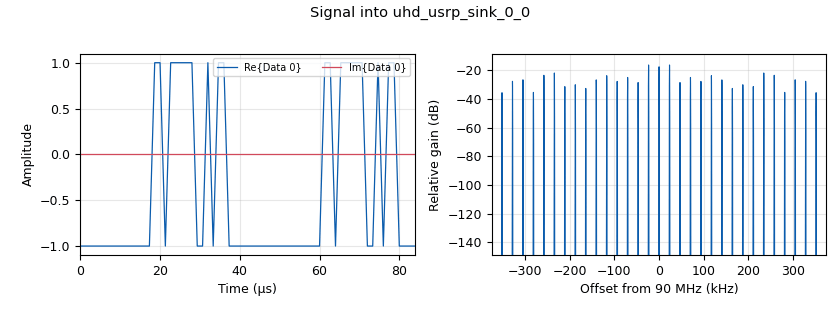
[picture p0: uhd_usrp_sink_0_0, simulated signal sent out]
options:
  parameters:
    category: Custom
    generate_options: qt_gui
    id: fecapi_cc_decoders
    output_language: python
  states: {}

blocks:
- name: dec_cc
  id: variable_cc_decoder_def
  parameters:
    framebits: frame_size*8
    k: k
    mode: fec.CC_STREAMING
    ndim: '0'
    padding: 'False'
    polys: polys
    rate: rate
    state_end: '-1'
    state_start: '0'
  states: {}
- name: delay
  id: variable_qtgui_range
  parameters:
    label: delay
    start: '1'
    step: '1'
    stop: '100'
    value: '25'
  states: {}
- name: enc_cc
  id: variable_cc_encoder_def
  parameters:
    framebits: frame_size*8
    k: k
    mode: fec.CC_STREAMING
    ndim: '0'
    padding: 'False'
    polys: polys
    rate: rate
    state_start: '0'
  states: {}
- name: freq_rds
  id: variable
  parameters:
    value: 90e6
  states: {}
- name: gainrx
  id: variable_qtgui_range
  parameters:
    label: GananciaRx
    start: '0'
    step: '1'
    stop: '100'
    value: '33'
  states: {}
- name: gaintx
  id: variable_qtgui_range
  parameters:
    label: GananciaTx
    start: '1'
    step: '1'
    stop: '100'
    value: '87'
  states: {}
- name: interpolation
  id: variable_qtgui_range
  parameters:
    label: Interpolación
    start: '1'
    step: '1'
    stop: '100'
    value: '15'
  states: {}
- name: k
  id: variable
  parameters:
    value: '7'
  states: {}
- name: polys
  id: variable
  parameters:
    value: '[79, 109]'
  states: {state: disabled}
- name: polys
  id: variable
  parameters:
    value: '[109, 79]'
  states: {}
- name: rate
  id: variable
  parameters:
    value: '2'
  states: {}
- name: samp_rate
  id: variable
  parameters:
    value: '50000'
  states: {}
- name: samp_rate_RDS
  id: variable
  parameters:
    value: samp_rate*interpolation
  states: {}
- name: blocks_char_to_float_0_1
  id: blocks_char_to_float
  parameters:
    scale: '1'
  states: {}
- name: blocks_char_to_float_1
  id: blocks_char_to_float
  parameters:
    scale: '1'
  states: {}
- name: blocks_char_to_float_1_0
  id: blocks_char_to_float
  parameters:
    scale: '1'
  states: {}
- name: blocks_complex_to_float_0
  id: blocks_complex_to_float
  parameters: {}
  states: {}
- name: blocks_delay_0
  id: blocks_delay
  parameters:
    delay: delay
    type: float
  states: {}
- name: blocks_float_to_complex_0
  id: blocks_float_to_complex
  parameters: {}
  states: {}
- name: blocks_throttle2_0
  id: blocks_throttle2
  parameters:
    samples_per_second: samp_rate
    type: byte
  states: {}
- name: blocks_unpack_k_bits_bb_0
  id: blocks_unpack_k_bits_bb
  parameters:
    k: '8'
  states: {}
- name: blocks_vector_source_x_0_1_0
  id: blocks_vector_source_x
  parameters:
    repeat: 'True'
    type: byte
    vector: '[1, 0, 1, 0,1,0]'
  states: {}
- name: digital_map_bb_0
  id: digital_map_bb
  parameters:
    map: '[-1, 1]'
  states: {}
- name: fec_extended_decoder_0_0
  id: fec_extended_decoder
  parameters:
    decoder_list: dec_cc
    puncpat: puncpat
    threadtype: none
  states: {}
- name: fec_extended_encoder_0
  id: fec_extended_encoder
  parameters:
    encoder_list: enc_cc
    puncpat: puncpat
    threadtype: ordinary
  states: {}
- name: frame_size
  id: parameter
  parameters:
    label: Frame Size
    type: intx
    value: '60'
  states: {}
- name: puncpat
  id: parameter
  parameters:
    value: '''11'''
  states: {}
- name: qtgui_time_sink_x_0_0
  id: qtgui_time_sink_x
  parameters:
    alpha2: '0.6'
    label1: Señal Original
    label2: Decodificada
    nconnections: '2'
    size: '2048'
    srate: samp_rate
    type: float
    ymax: '1.5'
    ymin: '-0.5'
  states: {}
- name: uhd_usrp_sink_0_0
  id: uhd_usrp_sink
  parameters:
    ant0: '"TX/RX"'
    bw0: 200e3
    center_freq0: freq_rds
    comment: Transmisor USRP
    dev_addr: '"serial=30875AE"'
    gain0: gaintx
    samp_rate: samp_rate_RDS
    sync: sync
    type: fc32
  states: {}
- name: uhd_usrp_source_0
  id: uhd_usrp_source
  parameters:
    ant0: '"RX2"'
    bw0: 200e3
    center_freq0: freq_rds
    comment: Receptor USRP
    dev_addr: '"serial=30875AE"'
    gain0: gainrx
    samp_rate: samp_rate_RDS
    sync: pc_clock_next_pps
    type: fc32
  states: {}

connections:
- [blocks_char_to_float_0_1, '0', qtgui_time_sink_x_0_0, '0']
- [blocks_char_to_float_1, '0', blocks_float_to_complex_0, '0']
- [blocks_char_to_float_1_0, '0', blocks_delay_0, '0']
- [blocks_complex_to_float_0, '0', fec_extended_decoder_0_0, '0']
- [blocks_delay_0, '0', qtgui_time_sink_x_0_0, '1']
- [blocks_float_to_complex_0, '0', uhd_usrp_sink_0_0, '0']
- [blocks_throttle2_0, '0', blocks_unpack_k_bits_bb_0, '0']
- [blocks_unpack_k_bits_bb_0, '0', blocks_char_to_float_0_1, '0']
- [blocks_unpack_k_bits_bb_0, '0', fec_extended_encoder_0, '0']
- [blocks_vector_source_x_0_1_0, '0', blocks_throttle2_0, '0']
- [digital_map_bb_0, '0', blocks_char_to_float_1, '0']
- [fec_extended_decoder_0_0, '0', blocks_char_to_float_1_0, '0']
- [fec_extended_encoder_0, '0', digital_map_bb_0, '0']
- [uhd_usrp_source_0, '0', blocks_complex_to_float_0, '0']

metadata:
  file_format: 1
  grc_version: 3.10.8.0
